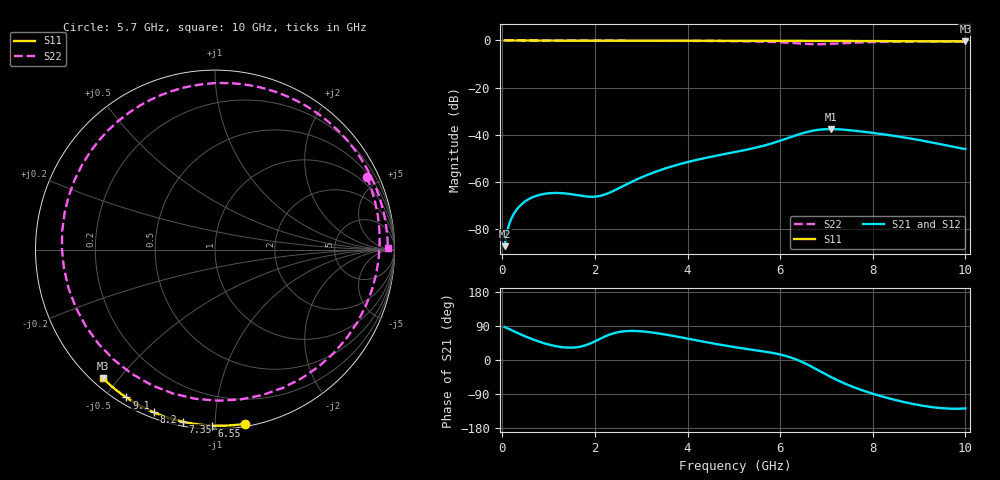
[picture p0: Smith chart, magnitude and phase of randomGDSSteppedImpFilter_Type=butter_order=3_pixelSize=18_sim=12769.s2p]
! freq	dB(S11)	phase(S11)	dB(S12)	phase(S12)
!  dB(S21)	phase(S21)	dB(S22)	phase(S22)
!S-par simulation data
#  GHz  S  DB  R 50
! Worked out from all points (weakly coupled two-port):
!   200 points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, 50 MHz to 10 GHz, reference 50 ohm
!   highest |S21| = -37.58 dB at 7.1 GHz (marker M1); lowest = -87.2 dB at 50 MHz (marker M2)
!   lowest |S11| = -0.4 dB at 10 GHz (marker M3), VSWR 39.32, Z = 1.53 - j22.7 ohm
!   |S11| at or under -10 dB: nowhere
!   |S22| runs from -1.6 to 0.0 dB; largest |S21 - S12| = 0
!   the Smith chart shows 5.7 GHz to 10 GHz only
!   S11 on the Smith chart (normalised r, x): 5.7 GHz: 0.02, -1.18; 6.55 GHz: 0.02, -0.98; 7.35 GHz: 0.02, -0.83; 8.2 GHz: 0.02, -0.69; 9.1 GHz: 0.03, -0.57; 10 GHz: 0.03, -0.45
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0.05  -0.00 -0.8  -87.21 87.1  -87.21 87.1  -0.00 -5.1
0.4  -0.01 -6.0  -69.75 67.4  -69.75 67.4  -0.06 -39.9
0.8  -0.02 -12.0  -65.48 48.3  -65.48 48.3  -0.09 -75.6
1.2  -0.02 -18.0  -64.65 35.5  -64.65 35.5  -0.11 -105.7
1.75  -0.03 -26.1  -65.98 37.1  -65.98 37.1  -0.12 -139.3
2.5  -0.05 -37.0  -62.81 73.4  -62.81 73.4  -0.13 -175.9
3.4  -0.07 -49.8  -55.04 69.7  -55.04 69.7  -0.16 146.1
4.3  -0.09 -62.1  -50.17 49.4  -50.17 49.4  -0.21 108.0
5.05  -0.11 -72.0  -47.21 33.3  -47.21 33.3  -0.31 70.4
5.7  -0.13 -80.4  -44.31 21.5  -44.31 21.5  -0.56 25.6
6.15  -0.15 -86.0  -41.50 9.7  -41.50 9.7  -0.95 -20.9
6.35  -0.16 -88.5  -40.15 1.3  -40.15 1.3  -1.20 -48.4
6.55  -0.17 -91.0  -38.96 -9.5  -38.96 -9.5  -1.44 -80.3
6.7  -0.18 -92.8  -38.28 -18.9  -38.28 -18.9  -1.56 -106.2
6.9  -0.19 -95.3  -37.73 -32.2  -37.73 -32.2  -1.57 -140.9
7.1  -0.20 -97.7  -37.58 -45.1  -37.58 -45.1  -1.43 -172.9
7.35  -0.22 -100.7  -37.79 -59.7  -37.79 -59.7  -1.18 153.6
7.75  -0.24 -105.4  -38.57 -78.9  -38.57 -78.9  -0.83 113.3
8.2  -0.27 -110.6  -39.71 -96.2  -39.71 -96.2  -0.59 80.7
8.35  -0.29 -112.4  -40.13 -101.2  -40.13 -101.2  -0.54 71.7
9.1  -0.35 -120.9  -42.58 -121.1  -42.58 -121.1  -0.38 34.7
10  -0.44 -131.1  -46.03 -127.8  -46.03 -127.8  -0.33 0.5
